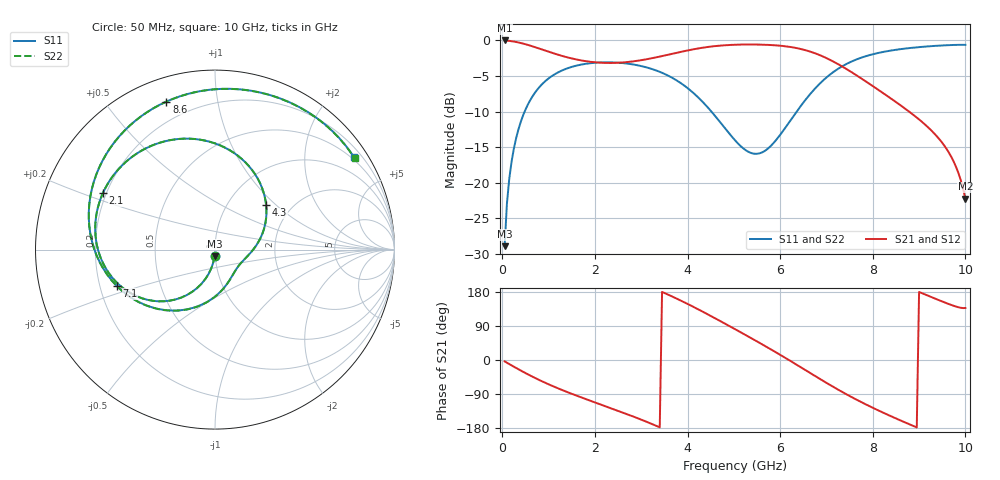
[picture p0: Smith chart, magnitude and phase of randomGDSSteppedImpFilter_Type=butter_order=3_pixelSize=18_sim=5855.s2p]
! freq	dB(S11)	phase(S11)	dB(S12)	phase(S12)
!  dB(S21)	phase(S21)	dB(S22)	phase(S22)
!S-par simulation data
#  GHz  S  DB  R 50
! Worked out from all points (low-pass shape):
!   200 points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, 50 MHz to 10 GHz, reference 50 ohm
!   highest |S21| = -0.01 dB at 50 MHz (marker M1); lowest = -22.3 dB at 10 GHz (marker M2)
!   |S21| within 3 dB of the highest: start of sweep to 1.901 GHz; 2.751 GHz to 7.159 GHz (4.408 GHz wide, 89 % of centre)
!   lowest |S11| = -28.9 dB at 50 MHz (marker M3), VSWR 1.07, Z = 49.6 - j3.55 ohm
!   |S11| at or under -10 dB: start of sweep to 483.4 MHz; 4.515 GHz to 6.358 GHz (1.843 GHz wide, 33.9 % of centre)
!   |S22| runs from -28.9 to -0.6 dB; largest |S21 - S12| = 0
!   S11 on the Smith chart (normalised r, x): 50 MHz: 0.99, -0.07; 2.1 GHz: 0.19, +0.23; 4.3 GHz: 1.50, +0.86; 7.1 GHz: 0.27, -0.17; 8.6 GHz: 0.11, +0.72; 10 GHz: 0.43, +3.26
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0.05  -28.92 -93.7  -0.01 -3.6  -0.01 -3.6  -28.93 -93.7
0.1  -22.94 -97.5  -0.03 -7.2  -0.03 -7.2  -22.94 -97.5
0.2  -17.06 -104.8  -0.11 -14.2  -0.11 -14.2  -17.05 -104.8
0.5  -9.74 -125.0  -0.54 -34.5  -0.54 -34.5  -9.74 -125.0
1  -5.35 -154.6  -1.59 -64.2  -1.59 -64.2  -5.35 -154.6
1.75  -3.35 168.8  -2.87 -100.7  -2.87 -100.7  -3.35 168.8
2.1  -3.11 153.3  -3.13 -116.3  -3.13 -116.3  -3.11 153.3
2.8  -3.36 122.1  -2.97 -147.8  -2.97 -147.8  -3.36 122.0
3.4  -4.42 92.6  -2.28 -177.7  -2.28 -177.7  -4.42 92.6
3.85  -5.99 67.9  -1.62 157.0  -1.62 157.0  -5.99 67.8
4.3  -8.47 41.0  -1.06 129.3  -1.06 129.3  -8.47 40.9
5.05  -14.22 -6.9  -0.61 79.8  -0.61 79.8  -14.22 -6.8
5.45  -15.94 -34.6  -0.58 52.5  -0.58 52.5  -15.93 -34.3
5.95  -13.70 -72.3  -0.72 17.4  -0.72 17.4  -13.70 -72.0
6.3  -10.53 -99.3  -1.01 -8.3  -1.01 -8.3  -10.53 -99.0
6.7  -7.15 -129.9  -1.69 -38.2  -1.69 -38.2  -7.15 -129.7
7.1  -4.69 -159.6  -2.81 -67.5  -2.81 -67.5  -4.69 -159.5
7.7  -2.55 159.9  -5.12 -107.9  -5.12 -107.9  -2.55 159.9
8.35  -1.47 121.7  -7.98 -146.0  -7.98 -146.0  -1.48 121.7
8.6  -1.23 108.2  -9.13 -159.6  -9.13 -159.6  -1.23 108.2
9.3  -0.79 71.8  -12.89 164.3  -12.89 164.3  -0.80 71.6
10  -0.63 33.6  -22.25 137.2  -22.25 137.2  -0.64 33.2
